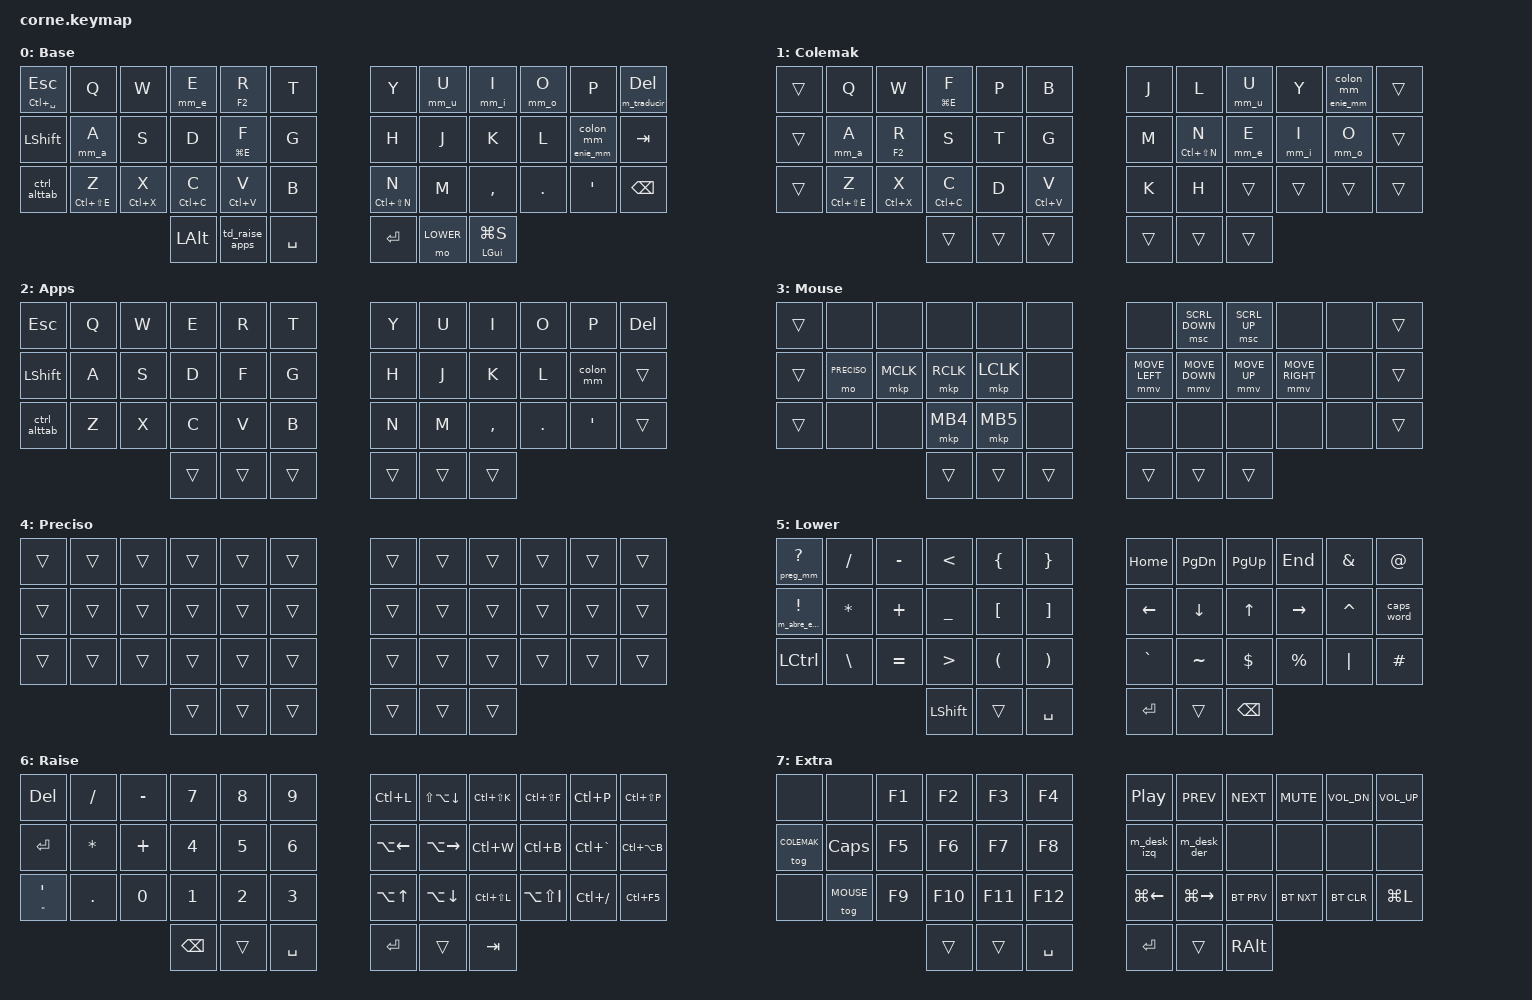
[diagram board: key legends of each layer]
#include <behaviors.dtsi>
#include <dt-bindings/zmk/bt.h>
#include <dt-bindings/zmk/ext_power.h>
#include <dt-bindings/zmk/keys.h>
#include <dt-bindings/zmk/pointing.h>
#include <input/processors.dtsi>

#define BASE     0
#define COLEMAK  1
#define APPS     2
#define MOUSE    3
#define PRECISO  4
#define LOWER    5
#define RAISE    6
#define EXTRA    7

// Combos: dos teclas juntas, solo en la capa base indicada. Posiciones:
//  0  1  2  3  4  5     6  7  8  9 10 11
// 12 13 14 15 16 17    18 19 20 21 22 23
// 24 25 26 27 28 29    30 31 32 33 34 35
//          36 37 38    39 40 41
#define COMBO(NAME, BINDING, KEYS, LAYER) \
    NAME { \
        timeout-ms = <35>; \
        key-positions = <KEYS>; \
        layers = <LAYER>; \
        bindings = <BINDING>; \
    };

/ {
    macros {
        m_paren: m_paren {
            compatible = "zmk,behavior-macro";
            #binding-cells = <0>;
            bindings = <&macro_tap &kp LPAR &kp RPAR &kp LEFT>;
        };
        m_brace: m_brace {
            compatible = "zmk,behavior-macro";
            #binding-cells = <0>;
            bindings = <&macro_tap &kp LBRC &kp RBRC &kp LEFT>;
        };
        m_bracket: m_bracket {
            compatible = "zmk,behavior-macro";
            #binding-cells = <0>;
            bindings = <&macro_tap &kp LBKT &kp RBKT &kp LEFT>;
        };
        m_eqeq: m_eqeq {
            compatible = "zmk,behavior-macro";
            #binding-cells = <0>;
            bindings = <&macro_tap &kp EQUAL &kp EQUAL>;
        };
        m_lte: m_lte {
            compatible = "zmk,behavior-macro";
            #binding-cells = <0>;
            bindings = <&macro_tap &kp LT &kp EQUAL>;
        };
        m_gte: m_gte {
            compatible = "zmk,behavior-macro";
            #binding-cells = <0>;
            bindings = <&macro_tap &kp GT &kp EQUAL>;
        };
        m_neq: m_neq {
            compatible = "zmk,behavior-macro";
            #binding-cells = <0>;
            bindings = <&macro_tap &kp EXCL &kp EQUAL>;
        };
        m_pluseq: m_pluseq {
            compatible = "zmk,behavior-macro";
            #binding-cells = <0>;
            bindings = <&macro_tap &kp PLUS &kp EQUAL>;
        };
        m_minuseq: m_minuseq {
            compatible = "zmk,behavior-macro";
            #binding-cells = <0>;
            bindings = <&macro_tap &kp MINUS &kp EQUAL>;
        };
        m_dslash: m_dslash {
            compatible = "zmk,behavior-macro";
            #binding-cells = <0>;
            bindings = <&macro_tap &kp FSLH &kp FSLH>;
        };
        m_dstar: m_dstar {
            compatible = "zmk,behavior-macro";
            #binding-cells = <0>;
            bindings = <&macro_tap &kp STAR &kp STAR>;
        };
        // Toca una sola vez la combinacion que recibe (para que mantener no la repita)
        tocar_una_vez: tocar_una_vez {
            compatible = "zmk,behavior-macro-one-param";
            #binding-cells = <1>;
            bindings
                = <&macro_param_1to1>
                , <&macro_tap &kp MACRO_PLACEHOLDER>
                ;
        };
        // Handy traducir: mantiene Ctrl+Shift+Espacio mientras se mantiene la tecla de arriba a la derecha (Del).
        // Al apretar: Ctrl, Shift, Espacio. Al soltar: primero Espacio y despues los modificadores.
        m_traducir: m_traducir {
            compatible = "zmk,behavior-macro";
            #binding-cells = <0>;
            wait-ms = <20>;
            tap-ms = <20>;
            bindings
                = <&macro_press &kp LCTRL>
                , <&macro_press &kp LSHFT>
                , <&macro_press &kp SPACE>
                , <&macro_pause_for_release>
                , <&macro_release &kp SPACE>
                , <&macro_release &kp LSHFT>
                , <&macro_release &kp LCTRL>
                ;
        };
        // n con tilde por codigo Alt de Windows (requiere Bloq Num activado): Alt+0241 = n, Alt+0209 = N mayuscula
        // Escritorio virtual: Win y Ctrl se aprietan primero y la flecha despues, como a mano
        // Minimizar la ventana activa: Alt+Espacio (menu de la ventana) y despues N
        m_minimizar: m_minimizar {
            compatible = "zmk,behavior-macro";
            #binding-cells = <0>;
            wait-ms = <30>;
            tap-ms = <30>;
            bindings
                = <&macro_press &kp LALT>
                , <&macro_tap &kp SPACE>
                , <&macro_release &kp LALT>
                , <&macro_wait_time 150>
                , <&macro_tap &kp N>
                ;
        };
        m_desk_izq: m_desk_izq {
            compatible = "zmk,behavior-macro";
            #binding-cells = <0>;
            wait-ms = <30>;
            tap-ms = <30>;
            bindings
                = <&macro_press &kp LGUI &kp LCTRL>
                , <&macro_tap &kp LEFT>
                , <&macro_release &kp LCTRL &kp LGUI>
                ;
        };
        m_desk_der: m_desk_der {
            compatible = "zmk,behavior-macro";
            #binding-cells = <0>;
            wait-ms = <30>;
            tap-ms = <30>;
            bindings
                = <&macro_press &kp LGUI &kp LCTRL>
                , <&macro_tap &kp RIGHT>
                , <&macro_release &kp LCTRL &kp LGUI>
                ;
        };
        m_enie: m_enie {
            compatible = "zmk,behavior-macro";
            #binding-cells = <0>;
            wait-ms = <10>;
            tap-ms = <10>;
            bindings
                = <&macro_press &kp LALT>
                , <&macro_tap &kp KP_N0 &kp KP_N2 &kp KP_N4 &kp KP_N1>
                , <&macro_release &kp LALT>
                ;
        };
        m_enie_may: m_enie_may {
            compatible = "zmk,behavior-macro";
            #binding-cells = <0>;
            wait-ms = <10>;
            tap-ms = <10>;
            bindings
                = <&macro_press &kp LALT>
                , <&macro_tap &kp KP_N0 &kp KP_N2 &kp KP_N0 &kp KP_N9>
                , <&macro_release &kp LALT>
                ;
        };
        // Signos de apertura por codigo Alt: Alt+0191 = signo de pregunta invertido, Alt+0161 = exclamacion invertida
        m_abre_preg: m_abre_preg {
            compatible = "zmk,behavior-macro";
            #binding-cells = <0>;
            wait-ms = <10>;
            tap-ms = <10>;
            bindings
                = <&macro_press &kp LALT>
                , <&macro_tap &kp KP_N0 &kp KP_N1 &kp KP_N9 &kp KP_N1>
                , <&macro_release &kp LALT>
                ;
        };
        m_abre_excl: m_abre_excl {
            compatible = "zmk,behavior-macro";
            #binding-cells = <0>;
            wait-ms = <10>;
            tap-ms = <10>;
            bindings
                = <&macro_press &kp LALT>
                , <&macro_tap &kp KP_N0 &kp KP_N1 &kp KP_N6 &kp KP_N1>
                , <&macro_release &kp LALT>
                ;
        };
        // Vocales con tilde por codigo Alt (minuscula / mayuscula). Requiere Bloq Num activado.
        m_aa: m_aa {
            compatible = "zmk,behavior-macro";
            #binding-cells = <0>;
            wait-ms = <10>;
            tap-ms = <10>;
            bindings
                = <&macro_press &kp LALT>
                , <&macro_tap &kp KP_N0 &kp KP_N2 &kp KP_N2 &kp KP_N5>
                , <&macro_release &kp LALT>
                ;
        };
        m_aa_may: m_aa_may {
            compatible = "zmk,behavior-macro";
            #binding-cells = <0>;
            wait-ms = <10>;
            tap-ms = <10>;
            bindings
                = <&macro_press &kp LALT>
                , <&macro_tap &kp KP_N0 &kp KP_N1 &kp KP_N9 &kp KP_N3>
                , <&macro_release &kp LALT>
                ;
        };
        m_ee: m_ee {
            compatible = "zmk,behavior-macro";
            #binding-cells = <0>;
            wait-ms = <10>;
            tap-ms = <10>;
            bindings
                = <&macro_press &kp LALT>
                , <&macro_tap &kp KP_N0 &kp KP_N2 &kp KP_N3 &kp KP_N3>
                , <&macro_release &kp LALT>
                ;
        };
        m_ee_may: m_ee_may {
            compatible = "zmk,behavior-macro";
            #binding-cells = <0>;
            wait-ms = <10>;
            tap-ms = <10>;
            bindings
                = <&macro_press &kp LALT>
                , <&macro_tap &kp KP_N0 &kp KP_N2 &kp KP_N0 &kp KP_N1>
                , <&macro_release &kp LALT>
                ;
        };
        m_ii: m_ii {
            compatible = "zmk,behavior-macro";
            #binding-cells = <0>;
            wait-ms = <10>;
            tap-ms = <10>;
            bindings
                = <&macro_press &kp LALT>
                , <&macro_tap &kp KP_N0 &kp KP_N2 &kp KP_N3 &kp KP_N7>
                , <&macro_release &kp LALT>
                ;
        };
        m_ii_may: m_ii_may {
            compatible = "zmk,behavior-macro";
            #binding-cells = <0>;
            wait-ms = <10>;
            tap-ms = <10>;
            bindings
                = <&macro_press &kp LALT>
                , <&macro_tap &kp KP_N0 &kp KP_N2 &kp KP_N0 &kp KP_N5>
                , <&macro_release &kp LALT>
                ;
        };
        m_oo: m_oo {
            compatible = "zmk,behavior-macro";
            #binding-cells = <0>;
            wait-ms = <10>;
            tap-ms = <10>;
            bindings
                = <&macro_press &kp LALT>
                , <&macro_tap &kp KP_N0 &kp KP_N2 &kp KP_N4 &kp KP_N3>
                , <&macro_release &kp LALT>
                ;
        };
        m_oo_may: m_oo_may {
            compatible = "zmk,behavior-macro";
            #binding-cells = <0>;
            wait-ms = <10>;
            tap-ms = <10>;
            bindings
                = <&macro_press &kp LALT>
                , <&macro_tap &kp KP_N0 &kp KP_N2 &kp KP_N1 &kp KP_N1>
                , <&macro_release &kp LALT>
                ;
        };
        m_uu: m_uu {
            compatible = "zmk,behavior-macro";
            #binding-cells = <0>;
            wait-ms = <10>;
            tap-ms = <10>;
            bindings
                = <&macro_press &kp LALT>
                , <&macro_tap &kp KP_N0 &kp KP_N2 &kp KP_N5 &kp KP_N0>
                , <&macro_release &kp LALT>
                ;
        };
        m_uu_may: m_uu_may {
            compatible = "zmk,behavior-macro";
            #binding-cells = <0>;
            wait-ms = <10>;
            tap-ms = <10>;
            bindings
                = <&macro_press &kp LALT>
                , <&macro_tap &kp KP_N0 &kp KP_N2 &kp KP_N1 &kp KP_N8>
                , <&macro_release &kp LALT>
                ;
        };
    };

    combos {
        compatible = "zmk,combos";
        COMBO(c_paren, &m_paren, 19 20, BASE)   // J + K  ->  ()
        COMBO(c_brace, &m_brace, 20 21, BASE)   // K + L  ->  {}
        COMBO(c_bracket, &m_bracket, 31 32, BASE)   // M + ,  ->  []
        COMBO(c_cerrar, &kp LA(F4), 1 2, BASE COLEMAK)   // Q + W  ->  Alt+F4 (cerrar ventana), tambien en Colemak
        COMBO(c_minimizar, &m_minimizar, 1 3, BASE COLEMAK)   // Q + E (en Colemak, Q + F)  ->  minimizar ventana (Alt+Espacio, N)
        COMBO(c_del, &kp DEL, 25 26, BASE COLEMAK APPS)   // Z + X  ->  Del (tambien en modo Apps)
        COMBO(c_eqeq, &m_eqeq, 26 27, BASE)   // X + C  ->  ==
        COMBO(c_lte, &m_lte, 27 28, BASE)   // C + V  ->  <=
        COMBO(c_gte, &m_gte, 28 29, BASE)   // V + B  ->  >=
        COMBO(c_neq, &m_neq, 14 15, BASE)   // S + D  ->  !=
        COMBO(c_pluseq, &m_pluseq, 15 16, BASE)   // D + F  ->  +=
        COMBO(c_minuseq, &m_minuseq, 16 17, BASE)   // F + G  ->  -=
        COMBO(c_dslash, &m_dslash, 32 33, BASE)   // , + .  ->  //
        COMBO(c_dstar, &m_dstar, 30 31, BASE)   // N + M  ->  **
        // Colemak-DH: las posiciones que en Colemak caen sobre pares comunes se movieron.
        COMBO(k_neq,     &m_neq,     6 7,   COLEMAK)   // J + L  ->  !=
        COMBO(k_pluseq,  &m_pluseq,  2 3,   COLEMAK)   // W + F  ->  +=
        COMBO(k_paren,   &m_paren,   3 4,   COLEMAK)   // F + P  ->  ()
        COMBO(k_brace,   &m_brace,   4 5,   COLEMAK)   // P + B  ->  {}
        COMBO(k_minuseq, &m_minuseq, 16 17, COLEMAK)   // T + G  ->  -=
        COMBO(k_eqeq,    &m_eqeq,    26 27, COLEMAK)   // X + C  ->  ==
        COMBO(k_lte,     &m_lte,     27 28, COLEMAK)   // C + D  ->  <=
        COMBO(k_gte,     &m_gte,     28 29, COLEMAK)   // D + V  ->  >=
        COMBO(k_dstar,   &m_dstar,   30 31, COLEMAK)   // K + H  ->  **
        COMBO(k_bracket, &m_bracket, 31 32, COLEMAK)   // H + ,  ->  []
        COMBO(k_dslash,  &m_dslash,  32 33, COLEMAK)   // , + .  ->  //
    };

    behaviors {
        // Esc: toque = Esc, mantener = transcribir con Handy (Ctrl+Space)
        esc_dictar: esc_dictar {
            compatible = "zmk,behavior-hold-tap";
            #binding-cells = <2>;
            flavor = "tap-preferred";
            tapping-term-ms = <250>;
            bindings = <&kp>, <&kp>;
        };

        // Win (pulgar der. de afuera): toque = buscador (Win+S), mantener = Win normal.
        // hold-preferred: apenas tocas otra tecla mientras la mantenes, cuenta como Win.
        win_buscar: win_buscar {
            compatible = "zmk,behavior-hold-tap";
            #binding-cells = <2>;
            flavor = "hold-preferred";
            tapping-term-ms = <200>;
            bindings = <&kp>, <&kp>;
        };

        // Raise: toque = ' (pies), mantener = " (pulgadas)
        pies_pulg: pies_pulg {
            compatible = "zmk,behavior-hold-tap";
            #binding-cells = <2>;
            flavor = "tap-preferred";
            tapping-term-ms = <250>;
            bindings = <&kp>, <&kp>;
        };

        // Z X C V R F N: toque = letra, mantener = descomprimir (Ctrl+Shift+E) / cortar / copiar / pegar / renombrar (F2) / Explorador (Win+E, en la F) / nueva carpeta (Ctrl+Shift+N)
        edicion: edicion {
            compatible = "zmk,behavior-hold-tap";
            #binding-cells = <2>;
            flavor = "tap-preferred";
            tapping-term-ms = <300>;
            require-prior-idle-ms = <150>;
            bindings = <&tocar_una_vez>, <&kp>;
        };

        // Ctrl: sola = Ctrl normal; con Alt mantenido = Tab (Alt+Tab con la mano izquierda)
        ctrl_alttab: ctrl_alttab {
            compatible = "zmk,behavior-mod-morph";
            #binding-cells = <0>;
            bindings = <&kp LCTRL>, <&kp TAB>;
            mods = <(MOD_LALT|MOD_RALT)>;
            keep-mods = <(MOD_LALT|MOD_RALT)>;
        };


        // Arriba der.: toque = Del, mantener = transcribir y traducir con Handy (Ctrl+Shift+Space)
        esc_traducir: esc_traducir {
            compatible = "zmk,behavior-hold-tap";
            #binding-cells = <2>;
            flavor = "tap-preferred";
            tapping-term-ms = <250>;
            bindings = <&m_traducir>, <&kp>;
        };

        // ; : toque = punto y coma, mantener = n con tilde (con Shift, mayuscula). Solo Windows.
        enie_mm: enie_mm {
            compatible = "zmk,behavior-mod-morph";
            #binding-cells = <0>;
            bindings = <&m_enie>, <&m_enie_may>;
            mods = <(MOD_LSFT|MOD_RSFT)>;
        };
        semi_enie: semi_enie {
            compatible = "zmk,behavior-hold-tap";
            #binding-cells = <2>;
            flavor = "tap-preferred";
            tapping-term-ms = <300>;
            require-prior-idle-ms = <150>;
            bindings = <&enie_mm>, <&colon_mm>;
        };

        // Toque de la tecla de la n: dos puntos; con Shift, punto y coma (Shift se descarta).
        colon_mm: colon_mm {
            compatible = "zmk,behavior-mod-morph";
            #binding-cells = <0>;
            bindings = <&kp COLON>, <&kp SEMI>;
            mods = <(MOD_LSFT|MOD_RSFT)>;
        };

        // / : toque = barra (con Shift, ?), mantener = signo de pregunta de apertura (con o sin Shift). Solo Windows.
        preg_mm: preg_mm {
            compatible = "zmk,behavior-mod-morph";
            #binding-cells = <0>;
            bindings = <&m_abre_preg>, <&m_abre_preg>;
            mods = <(MOD_LSFT|MOD_RSFT)>;
        };
        slash_preg: slash_preg {
            compatible = "zmk,behavior-hold-tap";
            #binding-cells = <2>;
            flavor = "tap-preferred";
            tapping-term-ms = <300>;
            require-prior-idle-ms = <150>;
            bindings = <&preg_mm>, <&kp>;
        };
        // ! en Lower: toque = !, mantener = exclamacion de apertura. Solo Windows.
        excl_abre: excl_abre {
            compatible = "zmk,behavior-hold-tap";
            #binding-cells = <2>;
            flavor = "tap-preferred";
            tapping-term-ms = <300>;
            bindings = <&m_abre_excl>, <&kp>;
        };

        // Vocales: toque = vocal, mantener = vocal con tilde (con Shift, mayuscula). Solo Windows.
        mm_a: mm_a {
            compatible = "zmk,behavior-mod-morph";
            #binding-cells = <0>;
            bindings = <&m_aa>, <&m_aa_may>;
            mods = <(MOD_LSFT|MOD_RSFT)>;
        };
        tilde_a: tilde_a {
            compatible = "zmk,behavior-hold-tap";
            #binding-cells = <2>;
            flavor = "tap-preferred";
            tapping-term-ms = <300>;
            require-prior-idle-ms = <150>;
            bindings = <&mm_a>, <&kp>;
        };
        mm_e: mm_e {
            compatible = "zmk,behavior-mod-morph";
            #binding-cells = <0>;
            bindings = <&m_ee>, <&m_ee_may>;
            mods = <(MOD_LSFT|MOD_RSFT)>;
        };
        tilde_e: tilde_e {
            compatible = "zmk,behavior-hold-tap";
            #binding-cells = <2>;
            flavor = "tap-preferred";
            tapping-term-ms = <300>;
            require-prior-idle-ms = <150>;
            bindings = <&mm_e>, <&kp>;
        };
        mm_i: mm_i {
            compatible = "zmk,behavior-mod-morph";
            #binding-cells = <0>;
            bindings = <&m_ii>, <&m_ii_may>;
            mods = <(MOD_LSFT|MOD_RSFT)>;
        };
        tilde_i: tilde_i {
            compatible = "zmk,behavior-hold-tap";
            #binding-cells = <2>;
            flavor = "tap-preferred";
            tapping-term-ms = <300>;
            require-prior-idle-ms = <150>;
            bindings = <&mm_i>, <&kp>;
        };
        mm_o: mm_o {
            compatible = "zmk,behavior-mod-morph";
            #binding-cells = <0>;
            bindings = <&m_oo>, <&m_oo_may>;
            mods = <(MOD_LSFT|MOD_RSFT)>;
        };
        tilde_o: tilde_o {
            compatible = "zmk,behavior-hold-tap";
            #binding-cells = <2>;
            flavor = "tap-preferred";
            tapping-term-ms = <300>;
            require-prior-idle-ms = <150>;
            bindings = <&mm_o>, <&kp>;
        };
        mm_u: mm_u {
            compatible = "zmk,behavior-mod-morph";
            #binding-cells = <0>;
            bindings = <&m_uu>, <&m_uu_may>;
            mods = <(MOD_LSFT|MOD_RSFT)>;
        };
        tilde_u: tilde_u {
            compatible = "zmk,behavior-hold-tap";
            #binding-cells = <2>;
            flavor = "tap-preferred";
            tapping-term-ms = <300>;
            require-prior-idle-ms = <150>;
            bindings = <&mm_u>, <&kp>;
        };


        // Raise: mantener = capa Raise; doble toque = prender/apagar modo Apps
        td_raise_apps: td_raise_apps {
            compatible = "zmk,behavior-tap-dance";
            #binding-cells = <0>;
            tapping-term-ms = <200>;
            bindings = <&mo RAISE>, <&tog APPS>;
        };
        // (sin uso) toque = simbolo, mantener = Ctrl. Lower ahora tiene Ctrl directo abajo a la izquierda (para Ctrl+flechas). Balanced: evita Ctrl accidental al escribir rapido.
        ctrl_arroba: ctrl_arroba {
            compatible = "zmk,behavior-hold-tap";
            #binding-cells = <2>;
            flavor = "balanced";
            tapping-term-ms = <200>;
            bindings = <&kp>, <&kp>;
        };
    };

    keymap {
        compatible = "zmk,keymap";

        // 0: Base. Shift normal (Bloq Mayus en Lower y en Extra).
        // Abajo izq: Ctrl; con Alt mantenido = Tab (Alt+Tab).
        // Mantenidas: Z descomprimir (Ctrl+Shift+E), X cortar, C copiar, V pegar, R renombrar (F2), F Explorador (Win+E), vocales con tilde (A E I O U), N nueva carpeta (Ctrl+Shift+N), : dos puntos (con Shift, ;) y mantenida enie (Alt+0241); en Lower, ? mantenido = apertura de pregunta (Alt+0191) y ! apertura de exclamacion (Alt+0161).
        // Arriba izq: toque = Esc, mantener = transcribir (Handy). Arriba der.: toque = Del, mantener = traducir (Handy).
        base_layer {
            display-name = "Base";
            bindings = <
&esc_dictar LC(SPACE) ESC  &kp Q  &kp W  &tilde_e 0 E  &edicion F2 R  &kp T        &kp Y  &tilde_u 0 U  &tilde_i 0 I      &tilde_o 0 O    &kp P     &esc_traducir 0 DEL
&kp LSHFT      &tilde_a 0 A  &kp S  &kp D  &edicion LG(E) F  &kp G        &kp H  &kp J  &kp K      &kp L    &semi_enie 0 0  &kp TAB
&ctrl_alttab    &edicion LC(LS(E)) Z  &edicion LC(X) X  &edicion LC(C) C  &edicion LC(V) V  &kp B        &edicion LC(LS(N)) N  &kp M  &kp COMMA  &kp DOT  &kp SQT  &kp BSPC
                   &kp LALT  &td_raise_apps  &kp SPACE        &kp RET  &mo LOWER  &win_buscar LGUI LG(S)
            >;
        };

        // 1: Colemak-DH. Solo cambian las letras; el resto viene de la base.
        // Se prende/apaga en Extra (Raise + Lower), tecla izquierda de la fila del medio.
        colemak_layer {
            display-name = "Colemak";
            bindings = <
&trans  &kp Q  &kp W  &edicion LG(E) F  &kp P  &kp B        &kp J  &kp L  &tilde_u 0 U  &kp Y  &semi_enie 0 0  &trans
&trans  &tilde_a 0 A  &edicion F2 R  &kp S  &kp T  &kp G        &kp M  &edicion LC(LS(N)) N  &tilde_e 0 E  &tilde_i 0 I  &tilde_o 0 O     &trans
&trans  &edicion LC(LS(E)) Z  &edicion LC(X) X  &edicion LC(C) C  &kp D  &edicion LC(V) V        &kp K  &kp H  &trans &trans &trans    &trans
                    &trans  &trans  &trans        &trans  &trans  &trans
            >;
        };

        // 2: Apps (D5, Lumion, AutoCAD, juegos). Letras QWERTY normales, sin funciones al mantener. Solo combo Z+X (Del).
        // Se prende/apaga con doble toque de Raise.
        apps_layer {
            display-name = "Apps";
            bindings = <
&kp ESC    &kp Q  &kp W  &kp E  &kp R  &kp T        &kp Y  &kp U  &kp I  &kp O  &kp P     &kp DEL
&kp LSHFT  &kp A  &kp S  &kp D  &kp F  &kp G        &kp H  &kp J  &kp K  &kp L  &colon_mm  &trans
&ctrl_alttab &kp Z  &kp X  &kp C  &kp V  &kp B        &kp N  &kp M  &kp COMMA  &kp DOT  &kp SQT   &trans
                    &trans  &trans  &trans        &trans  &trans  &trans
            >;
        };

        // 3: Mouse. Cursor con las teclas. Se prende/apaga en Extra (abajo a la izquierda, al lado de Apps).
        // Derecha: mover en H J K L (como Lower y Vim), scroll en U (abajo) e I (arriba). Izquierda: F clic, D clic derecho, S clic del medio.
        mouse_layer {
            display-name = "Mouse";
            bindings = <
&trans  &none  &none        &none        &none        &none        &none             &msc SCRL_DOWN   &msc SCRL_UP      &none           &none  &trans
&trans  &mo PRECISO  &mkp MCLK    &mkp RCLK    &mkp LCLK    &none        &mmv MOVE_LEFT    &mmv MOVE_DOWN   &mmv MOVE_UP      &mmv MOVE_RIGHT &none  &trans
&trans  &none  &none        &mkp MB4     &mkp MB5     &none        &none             &none            &none             &none           &none  &trans
                    &trans  &trans  &trans        &trans  &trans  &trans
            >;
        };

        // 4: Preciso. Mantener A en la capa Mouse: el cursor va a 1/4 de velocidad.
        preciso_layer {
            display-name = "Preciso";
            bindings = <
&trans  &trans  &trans  &trans  &trans  &trans        &trans  &trans  &trans  &trans  &trans  &trans
&trans  &trans  &trans  &trans  &trans  &trans        &trans  &trans  &trans  &trans  &trans  &trans
&trans  &trans  &trans  &trans  &trans  &trans        &trans  &trans  &trans  &trans  &trans  &trans
                    &trans  &trans  &trans        &trans  &trans  &trans
            >;
        };

        // 5: Lower (pulgar derecho). Izquierda: simbolos de programacion. Derecha: navegacion.
        lower_layer {
            display-name = "Lower";
            bindings = <
&slash_preg 0 QMARK  &kp FSLH  &kp MINUS &kp LT    &kp LBRC  &kp RBRC      &kp HOME  &kp PG_DN  &kp PG_UP  &kp END    &kp AMPS   &kp AT
&excl_abre 0 EXCL  &kp STAR   &kp PLUS  &kp UNDER  &kp LBKT  &kp RBKT      &kp LEFT  &kp DOWN   &kp UP       &kp RIGHT  &kp CARET &caps_word
&kp LCTRL  &kp BSLH   &kp EQUAL &kp GT     &kp LPAR  &kp RPAR      &kp GRAVE &kp TILDE    &kp DLLR   &kp PRCNT  &kp PIPE   &kp HASH
                        &kp LSHFT &trans  &kp SPACE               &kp RET  &trans  &kp BSPC
            >;
        };

        // 6: Raise (pulgar izquierdo). Izquierda: numerico. Derecha: VS Code (arriba: sel./duplicar/borrar linea, buscar en proyecto, buscar archivo, paleta).
        // VS Code: medio: volver atras/adelante, sidebar, terminal, chat AI; fila de abajo: Alt+flechas mover linea, Ctrl+Shift+L sel. coincidencias,
        //          Shift+Alt+I cursores, Alt+Shift+F formatear, Ctrl+F5 ejecutar.
        raise_layer {
            display-name = "Raise";
            bindings = <
&kp DEL          &kp FSLH   &kp MINUS &kp N7  &kp N8  &kp N9        &kp LC(L)         &kp LS(LA(DOWN)) &kp LC(LS(K))   &kp LC(LS(F))  &kp LC(P)       &kp LC(LS(P))
&kp RET          &kp STAR   &kp PLUS  &kp N4  &kp N5  &kp N6        &kp LA(LEFT)      &kp LA(RIGHT)   &kp LC(W)        &kp LC(B)      &kp LC(GRAVE)   &kp LC(LA(B))
&pies_pulg DQT SQT  &kp DOT    &kp N0    &kp N1  &kp N2  &kp N3        &kp LA(UP)        &kp LA(DOWN)    &kp LC(LS(L))    &kp LA(LS(I))  &kp LC(FSLH)    &kp LC(F5)
                         &kp BSPC  &trans  &kp SPACE        &kp RET  &trans  &kp TAB
            >;
        };

        // 7: Extra (Raise + Lower). F1-F12, multimedia arriba, Bluetooth abajo, QWERTY/Colemak, modo Apps y pantallas.
        extra_layer {
            display-name = "Extra";
            bindings = <
&none           &none  &kp F1   &kp F2   &kp F3   &kp F4      &kp C_PLAY_PAUSE  &kp C_PREV         &kp C_NEXT  &kp C_MUTE  &kp C_VOL_DN  &kp C_VOL_UP
&tog COLEMAK    &kp CAPS  &kp F5   &kp F6   &kp F7   &kp F8      &m_desk_izq       &m_desk_der         &none             &none              &none      &none
&none           &tog MOUSE  &kp F9   &kp F10  &kp F11  &kp F12     &kp LG(LEFT)      &kp LG(RIGHT)      &bt BT_PRV  &bt BT_NXT  &bt BT_CLR  &kp LG(L)
                               &trans  &trans  &kp SPACE    &kp RET  &trans  &kp RALT
            >;
        };
    };

    conditional_layers {
        compatible = "zmk,conditional-layers";

        extra_layer {
            if-layers = <LOWER RAISE>;
            then-layer = <EXTRA>;
        };
    };
};

// Capa Preciso: el cursor del mouse va a 1/4 de velocidad
&mmv_input_listener {
    preciso {
        layers = <PRECISO>;
        input-processors = <&zip_xy_scaler 1 4>;
    };
};
